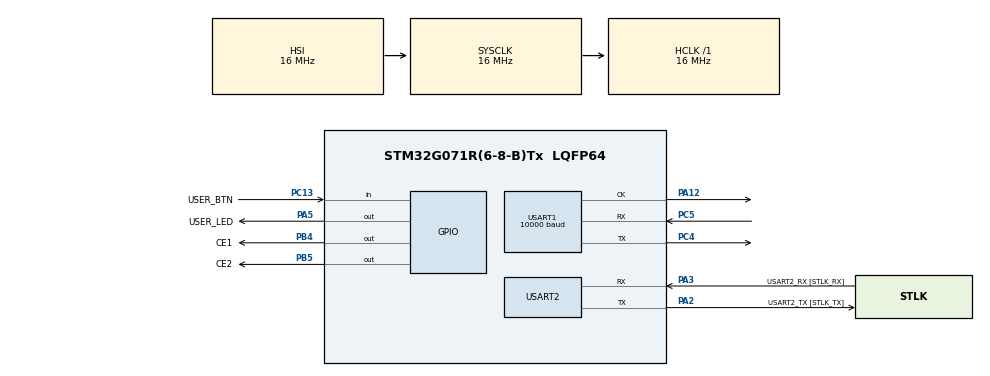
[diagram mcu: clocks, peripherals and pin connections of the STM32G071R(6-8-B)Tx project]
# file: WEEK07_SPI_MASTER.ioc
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Mcu.Family=STM32G0
Mcu.Name=STM32G071R(6-8-B)Tx
Mcu.Package=LQFP64
PA12\ [PA10].Mode=Synchronous
PA12\ [PA10].Signal=USART1_CK
PA13.GPIO_Label=TMS
PA13.Mode=Serial_Wire
PA13.Signal=SYS_SWDIO
PA14-BOOT0.GPIO_Label=TCK
PA14-BOOT0.Mode=Serial_Wire
PA14-BOOT0.Signal=SYS_SWCLK
PA2.GPIO_Label=USART2_TX [STLK_TX]
PA2.GPIO_PuPd=GPIO_PULLUP
PA2.Mode=Asynchronous
PA2.Signal=USART2_TX
PA3.GPIO_Label=USART2_RX [STLK_RX]
PA3.GPIO_PuPd=GPIO_PULLUP
PA3.Mode=Asynchronous
PA3.Signal=USART2_RX
PA5.GPIO_Label=USER_LED
PA5.GPIO_Speed=GPIO_SPEED_FREQ_HIGH
PA5.Signal=GPIO_Output
PB4.GPIO_Label=CE1
PB4.Signal=GPIO_Output
PB5.GPIO_Label=CE2
PB5.Signal=GPIO_Output
PC13.GPIO_Label=USER_BTN
PC13.Signal=GPIO_Input
PC14-OSC32_IN\ (PC14).Mode=LSE-External-Oscillator
PC14-OSC32_IN\ (PC14).Signal=RCC_OSC32_IN
PC15-OSC32_OUT\ (PC15).Mode=LSE-External-Oscillator
PC15-OSC32_OUT\ (PC15).Signal=RCC_OSC32_OUT
PC4.Mode=Synchronous
PC4.Signal=USART1_TX
PC5.Mode=Synchronous
PC5.Signal=USART1_RX
PF0-OSC_IN\ (PF0).GPIO_Label=MCO
PF0-OSC_IN\ (PF0).Mode=HSE-External-Clock-Source
PF0-OSC_IN\ (PF0).Signal=RCC_OSC_IN
ProjectManager.HeapSize=0x200
ProjectManager.StackSize=0x400
ProjectManager.TargetToolchain=STM32CubeIDE
RCC.AHBFreq_Value=16000000
RCC.CortexFreq_Value=16000000
RCC.EXTERNAL_CLOCK_VALUE=12288000
RCC.HCLKFreq_Value=16000000
RCC.HSE_VALUE=8000000
RCC.HSI_VALUE=16000000
RCC.SYSCLKFreq_VALUE=16000000
RCC.VCOOutputFreq_Value=128000000
USART1.BaudRate=10000
USART1.CLKLastBit=USART_LASTBIT_ENABLE
USART1.VirtualMode-Synchronous=VM_SYNC
USART2.VirtualMode-Asynchronous=VM_ASYNC
board=NUCLEO-G071RB

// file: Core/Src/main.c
/* USER CODE BEGIN Header */
/**
  ******************************************************************************
  * @file           : main.c
  * @brief          : Main program body
  ******************************************************************************
  * @attention
  *
  * Copyright (c) 2024 STMicroelectronics.
  * All rights reserved.
  *
  * This software is licensed under terms that can be found in the LICENSE file
  * in the root directory of this software component.
  * If no LICENSE file comes with this software, it is provided AS-IS.
  *
  ******************************************************************************
  */
/* USER CODE END Header */
#include "main.h"

USART_HandleTypeDef husart1;
UART_HandleTypeDef huart2;

void SystemClock_Config(void);
static void MX_GPIO_Init(void);
static void MX_USART2_UART_Init(void);
static void MX_USART1_Init(void);

int main(void)
{

  /* MCU Configuration--------------------------------------------------------*/

  /* Reset of all peripherals, Initializes the Flash interface and the Systick. */
  HAL_Init();

  /* Configure the system clock */
  SystemClock_Config();

  /* Initialize all configured peripherals */
  MX_GPIO_Init();
  MX_USART2_UART_Init();
  MX_USART1_Init();
  /* USER CODE BEGIN 2 */
  unsigned char data[10] = "A";
  HAL_GPIO_WritePin(CE1_GPIO_Port, CE1_Pin, 0);
  HAL_GPIO_WritePin(CE2_GPIO_Port, CE2_Pin, 0);
  /* USER CODE END 2 */

  /* Infinite loop */
  while (1)
  {

    /* USER CODE BEGIN 3 */
	  if (HAL_GPIO_ReadPin(USER_BTN_GPIO_Port, USER_BTN_Pin)) {
		  HAL_GPIO_WritePin(USER_LED_GPIO_Port, USER_LED_Pin, 0);
		  HAL_GPIO_WritePin(CE1_GPIO_Port, CE1_Pin, 1);
		  HAL_USART_Transmit(&husart1, data, 1, 1000);
		  HAL_GPIO_WritePin(CE1_GPIO_Port, CE1_Pin, 0);
	  } else {
		  HAL_GPIO_WritePin(USER_LED_GPIO_Port, USER_LED_Pin, 1);
		  HAL_GPIO_WritePin(CE2_GPIO_Port, CE2_Pin, 1);
		  HAL_USART_Transmit(&husart1, data, 1, 1000);
		  HAL_GPIO_WritePin(CE2_GPIO_Port, CE2_Pin, 0);
	  }

	  HAL_Delay(1000);
	  data[0]++;

	  if (data[0] > 'Z') {
		  data[0] = 'A';
	  }
  }
  /* USER CODE END 3 */
}

void SystemClock_Config(void)
{
  RCC_OscInitTypeDef RCC_OscInitStruct = {0};
  RCC_ClkInitTypeDef RCC_ClkInitStruct = {0};

  /** Configure the main internal regulator output voltage
  */
  HAL_PWREx_ControlVoltageScaling(PWR_REGULATOR_VOLTAGE_SCALE1);

  /** Initializes the RCC Oscillators according to the specified parameters
  * in the RCC_OscInitTypeDef structure.
  */
  RCC_OscInitStruct.OscillatorType = RCC_OSCILLATORTYPE_HSI;
  RCC_OscInitStruct.HSIState = RCC_HSI_ON;
  RCC_OscInitStruct.HSIDiv = RCC_HSI_DIV1;
  RCC_OscInitStruct.HSICalibrationValue = RCC_HSICALIBRATION_DEFAULT;
  RCC_OscInitStruct.PLL.PLLState = RCC_PLL_NONE;
  if (HAL_RCC_OscConfig(&RCC_OscInitStruct) != HAL_OK)
  {
    Error_Handler();
  }

  /** Initializes the CPU, AHB and APB buses clocks
  */
  RCC_ClkInitStruct.ClockType = RCC_CLOCKTYPE_HCLK|RCC_CLOCKTYPE_SYSCLK
                              |RCC_CLOCKTYPE_PCLK1;
  RCC_ClkInitStruct.SYSCLKSource = RCC_SYSCLKSOURCE_HSI;
  RCC_ClkInitStruct.AHBCLKDivider = RCC_SYSCLK_DIV1;
  RCC_ClkInitStruct.APB1CLKDivider = RCC_HCLK_DIV1;

  if (HAL_RCC_ClockConfig(&RCC_ClkInitStruct, FLASH_LATENCY_0) != HAL_OK)
  {
    Error_Handler();
  }
}

static void MX_USART1_Init(void)
{

  husart1.Instance = USART1;
  husart1.Init.BaudRate = 10000;
  husart1.Init.WordLength = USART_WORDLENGTH_8B;
  husart1.Init.StopBits = USART_STOPBITS_1;
  husart1.Init.Parity = USART_PARITY_NONE;
  husart1.Init.Mode = USART_MODE_TX_RX;
  husart1.Init.CLKPolarity = USART_POLARITY_LOW;
  husart1.Init.CLKPhase = USART_PHASE_1EDGE;
  husart1.Init.CLKLastBit = USART_LASTBIT_ENABLE;
  husart1.Init.ClockPrescaler = USART_PRESCALER_DIV1;
  husart1.SlaveMode = USART_SLAVEMODE_DISABLE;
  if (HAL_USART_Init(&husart1) != HAL_OK)
  {
    Error_Handler();
  }
  if (HAL_USARTEx_SetTxFifoThreshold(&husart1, USART_TXFIFO_THRESHOLD_1_8) != HAL_OK)
  {
    Error_Handler();
  }
  if (HAL_USARTEx_SetRxFifoThreshold(&husart1, USART_RXFIFO_THRESHOLD_1_8) != HAL_OK)
  {
    Error_Handler();
  }
  if (HAL_USARTEx_DisableFifoMode(&husart1) != HAL_OK)
  {
    Error_Handler();
  }

}

static void MX_USART2_UART_Init(void)
{

  huart2.Instance = USART2;
  huart2.Init.BaudRate = 115200;
  huart2.Init.WordLength = UART_WORDLENGTH_8B;
  huart2.Init.StopBits = UART_STOPBITS_1;
  huart2.Init.Parity = UART_PARITY_NONE;
  huart2.Init.Mode = UART_MODE_TX_RX;
  huart2.Init.HwFlowCtl = UART_HWCONTROL_NONE;
  huart2.Init.OverSampling = UART_OVERSAMPLING_16;
  huart2.Init.OneBitSampling = UART_ONE_BIT_SAMPLE_DISABLE;
  huart2.Init.ClockPrescaler = UART_PRESCALER_DIV1;
  huart2.AdvancedInit.AdvFeatureInit = UART_ADVFEATURE_NO_INIT;
  if (HAL_UART_Init(&huart2) != HAL_OK)
  {
    Error_Handler();
  }
  if (HAL_UARTEx_SetTxFifoThreshold(&huart2, UART_TXFIFO_THRESHOLD_1_8) != HAL_OK)
  {
    Error_Handler();
  }
  if (HAL_UARTEx_SetRxFifoThreshold(&huart2, UART_RXFIFO_THRESHOLD_1_8) != HAL_OK)
  {
    Error_Handler();
  }
  if (HAL_UARTEx_DisableFifoMode(&huart2) != HAL_OK)
  {
    Error_Handler();
  }

}

static void MX_GPIO_Init(void)
{
  GPIO_InitTypeDef GPIO_InitStruct = {0};

  /* GPIO Ports Clock Enable */
  __HAL_RCC_GPIOC_CLK_ENABLE();
  __HAL_RCC_GPIOF_CLK_ENABLE();
  __HAL_RCC_GPIOA_CLK_ENABLE();
  __HAL_RCC_GPIOB_CLK_ENABLE();

  /*Configure GPIO pin Output Level */
  HAL_GPIO_WritePin(USER_LED_GPIO_Port, USER_LED_Pin, GPIO_PIN_RESET);

  /*Configure GPIO pin Output Level */
  HAL_GPIO_WritePin(GPIOB, CE1_Pin|CE2_Pin, GPIO_PIN_RESET);

  /*Configure GPIO pin : USER_BTN_Pin */
  GPIO_InitStruct.Pin = USER_BTN_Pin;
  GPIO_InitStruct.Mode = GPIO_MODE_INPUT;
  GPIO_InitStruct.Pull = GPIO_NOPULL;
  HAL_GPIO_Init(USER_BTN_GPIO_Port, &GPIO_InitStruct);

  /*Configure GPIO pin : USER_LED_Pin */
  GPIO_InitStruct.Pin = USER_LED_Pin;
  GPIO_InitStruct.Mode = GPIO_MODE_OUTPUT_PP;
  GPIO_InitStruct.Pull = GPIO_NOPULL;
  GPIO_InitStruct.Speed = GPIO_SPEED_FREQ_HIGH;
  HAL_GPIO_Init(USER_LED_GPIO_Port, &GPIO_InitStruct);

  /*Configure GPIO pins : CE1_Pin CE2_Pin */
  GPIO_InitStruct.Pin = CE1_Pin|CE2_Pin;
  GPIO_InitStruct.Mode = GPIO_MODE_OUTPUT_PP;
  GPIO_InitStruct.Pull = GPIO_NOPULL;
  GPIO_InitStruct.Speed = GPIO_SPEED_FREQ_LOW;
  HAL_GPIO_Init(GPIOB, &GPIO_InitStruct);

}

void Error_Handler(void)
{
  __disable_irq();
  while (1)
  {
  }
}
